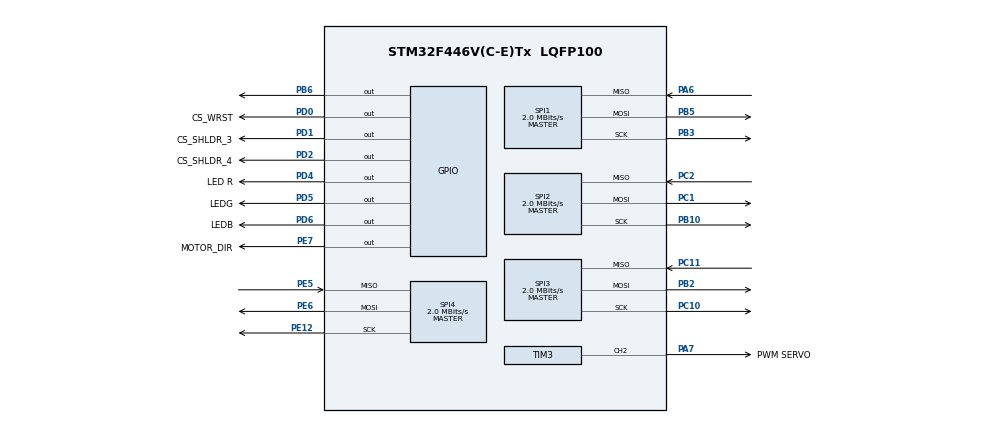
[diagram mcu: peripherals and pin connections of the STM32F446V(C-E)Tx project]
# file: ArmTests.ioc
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Mcu.Family=STM32F4
Mcu.Name=STM32F446V(C-E)Tx
Mcu.Package=LQFP100
NVIC.PriorityGroup=NVIC_PRIORITYGROUP_4
PA6.Mode=Full_Duplex_Master
PA6.Signal=SPI1_MISO
PA7.GPIO_Label=PWM SERVO
PA7.Signal=S_TIM3_CH2
PB10.Mode=Full_Duplex_Master
PB10.Signal=SPI2_SCK
PB2.Mode=Full_Duplex_Master
PB2.Signal=SPI3_MOSI
PB3.Mode=Full_Duplex_Master
PB3.Signal=SPI1_SCK
PB5.Mode=Full_Duplex_Master
PB5.Signal=SPI1_MOSI
PB6.Signal=GPIO_Output
PC1.Mode=Full_Duplex_Master
PC1.Signal=SPI2_MOSI
PC10.Mode=Full_Duplex_Master
PC10.Signal=SPI3_SCK
PC11.Mode=Full_Duplex_Master
PC11.Signal=SPI3_MISO
PC2.Mode=Full_Duplex_Master
PC2.Signal=SPI2_MISO
PD0.GPIO_Label=CS_WRST
PD0.Signal=GPIO_Output
PD1.GPIO_Label=CS_SHLDR_3
PD1.Signal=GPIO_Output
PD2.GPIO_Label=CS_SHLDR_4
PD2.Signal=GPIO_Output
PD4.GPIO_Label=LED R
PD4.Signal=GPIO_Output
PD5.GPIO_Label=LEDG
PD5.Signal=GPIO_Output
PD6.GPIO_Label=LEDB
PD6.Signal=GPIO_Output
PE12.Mode=Full_Duplex_Master
PE12.Signal=SPI4_SCK
PE5.Mode=Full_Duplex_Master
PE5.Signal=SPI4_MISO
PE6.Mode=Full_Duplex_Master
PE6.Signal=SPI4_MOSI
PE7.GPIO_Label=MOTOR_DIR
PE7.Signal=GPIO_Output
ProjectManager.HeapSize=0x200
ProjectManager.StackSize=0x400
ProjectManager.TargetToolchain=STM32CubeIDE
RCC.CortexFreq_Value=16000000
RCC.USBFreq_Value=96000000
RCC.VCOOutputFreq_Value=192000000
SH.S_TIM3_CH2.0=TIM3_CH2,PWM Generation2 CH2
SPI1.BaudRatePrescaler=SPI_BAUDRATEPRESCALER_8
SPI1.CalculateBaudRate=2.0 MBits/s
SPI1.Direction=SPI_DIRECTION_2LINES
SPI1.Mode=SPI_MODE_MASTER
SPI1.VirtualType=VM_MASTER
SPI2.BaudRatePrescaler=SPI_BAUDRATEPRESCALER_8
SPI2.CalculateBaudRate=2.0 MBits/s
SPI2.Direction=SPI_DIRECTION_2LINES
SPI2.Mode=SPI_MODE_MASTER
SPI2.VirtualType=VM_MASTER
SPI3.BaudRatePrescaler=SPI_BAUDRATEPRESCALER_8
SPI3.CalculateBaudRate=2.0 MBits/s
SPI3.Direction=SPI_DIRECTION_2LINES
SPI3.Mode=SPI_MODE_MASTER
SPI3.VirtualType=VM_MASTER
SPI4.BaudRatePrescaler=SPI_BAUDRATEPRESCALER_8
SPI4.CalculateBaudRate=2.0 MBits/s
SPI4.Direction=SPI_DIRECTION_2LINES
SPI4.Mode=SPI_MODE_MASTER
SPI4.VirtualType=VM_MASTER
TIM3.Channel-PWM\ Generation2\ CH2=TIM_CHANNEL_2
TIM3.Period=40000
TIM3.Prescaler=3
VP_TIM3_VS_ClockSourceINT.Mode=Internal
board=custom

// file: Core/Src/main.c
/* USER CODE BEGIN Header */
/**
  ******************************************************************************
  * @file           : main.c
  * @brief          : Main program body
  ******************************************************************************
  * @attention
  *
  * <h2><center>&copy; Copyright (c) 2021 STMicroelectronics.
  * All rights reserved.</center></h2>
  *
  * This software component is licensed by ST under BSD 3-Clause license,
  * the "License"; You may not use this file except in compliance with the
  * License. You may obtain a copy of the License at:
  *                        opensource.org/licenses/BSD-3-Clause
  *
  ******************************************************************************
  */
/* USER CODE END Header */
#include "main.h"
#include "spi.h"
#include "tim.h"
#include "gpio.h"

/* USER CODE BEGIN PM */
#define isBitSet(byte, bit) (byte & (1 << bit))
#define isBitClear(byte, bit) !(byte & (1 << bit))
#define toggleBit(byte, bit) (byte ^= (1 << bit))
#define SIGNOF(val) ((0 < (val)) - ((val) < 0))

/* USER CODE END PM */

void SystemClock_Config(void);

int main(void)
{

  /* MCU Configuration--------------------------------------------------------*/

  /* Reset of all peripherals, Initializes the Flash interface and the Systick. */
  HAL_Init();

  /* Configure the system clock */
  SystemClock_Config();

  /* Initialize all configured peripherals */
  MX_GPIO_Init();
  MX_TIM3_Init();
  MX_SPI1_Init();
  MX_SPI2_Init();
  MX_SPI3_Init();
  MX_SPI4_Init();
  /* USER CODE BEGIN 2 */
  HAL_TIM_PWM_Start(&htim3, TIM_CHANNEL_2);

  /* USER CODE END 2 */

  /* Infinite loop */
  /* USER CODE BEGIN WHILE */
  uint8_t iterator = 0;
  const float MAX_PWM_MS = 2.0f;
  const float MIN_PWM_MS = 1.0f;
  const int MAX_ITERATOR = 8.0;
  int data[10] = {0,1,2,3,4,5,6,7,8,9};

  while (1)
  {
	  if(iterator == MAX_ITERATOR)
	  {
		  iterator = 0;
	  }

	  /**RGB LED Tests**/
	  HAL_GPIO_WritePin(LED_R_GPIO_Port, LED_R_Pin, isBitSet(iterator, 0));
	  HAL_GPIO_WritePin(LEDG_GPIO_Port, LEDG_Pin, isBitSet(iterator, 1));
	  HAL_GPIO_WritePin(LEDB_GPIO_Port, LEDB_Pin, isBitSet(iterator, 2));

	  /**Servo Tests**/
	  float servoMs = (MAX_PWM_MS-MIN_PWM_MS)*(iterator/MAX_ITERATOR)+MIN_PWM_MS;
	  htim3.Instance->CCR2 = servoMs/MAX_PWM_MS*htim3.Init.Period;

	  /**Chip Select Tests**/
	  HAL_GPIO_WritePin(CS_WRST_GPIO_Port, CS_WRST_Pin, isBitSet(iterator, 0));
	  HAL_GPIO_WritePin(CS_SHLDR_3_GPIO_Port, CS_SHLDR_3_Pin, isBitSet(iterator, 0));
	  HAL_GPIO_WritePin(CS_SHLDR_4_GPIO_Port, CS_SHLDR_4_Pin, isBitSet(iterator, 0));

	  HAL_SPI_Transmit(&hspi1, data, 10, 10);
	  HAL_SPI_Transmit(&hspi2, data, 10, 10);
	  HAL_SPI_Transmit(&hspi3, data, 10, 10);
	  HAL_SPI_Transmit(&hspi4, data, 10, 10);

	  iterator++;
	  HAL_Delay(100);
    /* USER CODE END WHILE */

  }
}

void SystemClock_Config(void)
{
  RCC_OscInitTypeDef RCC_OscInitStruct = {0};
  RCC_ClkInitTypeDef RCC_ClkInitStruct = {0};

  /** Configure the main internal regulator output voltage
  */
  __HAL_RCC_PWR_CLK_ENABLE();
  __HAL_PWR_VOLTAGESCALING_CONFIG(PWR_REGULATOR_VOLTAGE_SCALE3);
  /** Initializes the RCC Oscillators according to the specified parameters
  * in the RCC_OscInitTypeDef structure.
  */
  RCC_OscInitStruct.OscillatorType = RCC_OSCILLATORTYPE_HSI;
  RCC_OscInitStruct.HSIState = RCC_HSI_ON;
  RCC_OscInitStruct.HSICalibrationValue = RCC_HSICALIBRATION_DEFAULT;
  RCC_OscInitStruct.PLL.PLLState = RCC_PLL_NONE;
  if (HAL_RCC_OscConfig(&RCC_OscInitStruct) != HAL_OK)
  {
    Error_Handler();
  }
  /** Initializes the CPU, AHB and APB buses clocks
  */
  RCC_ClkInitStruct.ClockType = RCC_CLOCKTYPE_HCLK|RCC_CLOCKTYPE_SYSCLK
                              |RCC_CLOCKTYPE_PCLK1|RCC_CLOCKTYPE_PCLK2;
  RCC_ClkInitStruct.SYSCLKSource = RCC_SYSCLKSOURCE_HSI;
  RCC_ClkInitStruct.AHBCLKDivider = RCC_SYSCLK_DIV1;
  RCC_ClkInitStruct.APB1CLKDivider = RCC_HCLK_DIV1;
  RCC_ClkInitStruct.APB2CLKDivider = RCC_HCLK_DIV1;

  if (HAL_RCC_ClockConfig(&RCC_ClkInitStruct, FLASH_LATENCY_0) != HAL_OK)
  {
    Error_Handler();
  }
}

void Error_Handler(void)
{
  __disable_irq();
  while (1)
  {
  }
}

/************************ (C) COPYRIGHT STMicroelectronics *****END OF FILE****/
